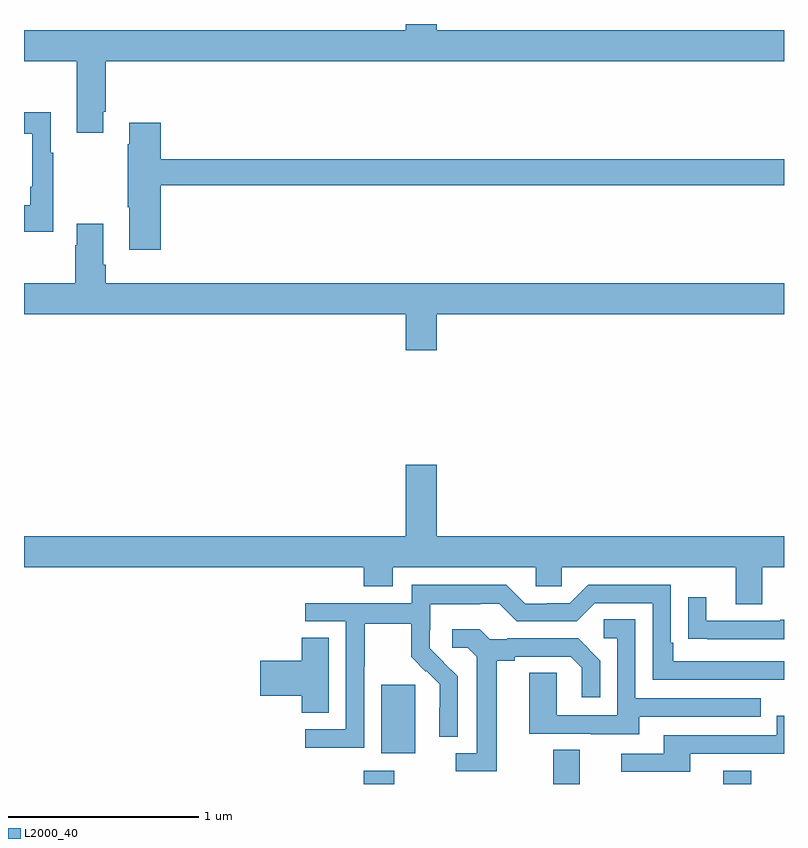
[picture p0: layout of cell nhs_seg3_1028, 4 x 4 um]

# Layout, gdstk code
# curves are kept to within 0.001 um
import gdstk
lib = gdstk.Library(unit=1e-6, precision=1e-09)
def R(c, l, rs):  # rectangles x0, y0, x1, y1
    for r in rs: c.add(gdstk.rectangle(r[:2], r[2:], *l))
def P(c, l, *ps):  # polygons
    for p in ps: c.add(gdstk.Polygon(p, *l))
L2000_40 = (2000, 40)

nhs_seg3_1028 = lib.new_cell('nhs_seg3_1028')
R(nhs_seg3_1028, L2000_40, [(164.789,742.4,164.949,742.471), (165.785,742.4,165.925,742.58), (166.679,742.4,166.827,742.471), (164.879,742.562,165.058,742.923)])
P(nhs_seg3_1028, L2000_40, [(163.417,745.939),(163.43,745.939),(163.43,746.204),(167,746.204),(167,746.368),(165.172,746.368),(165.172,746.4),(165.008,746.4),(165.008,746.368),(163,746.368),(163,746.204),(163.277,746.204),(163.277,745.827),(163.417,745.827)],
  [(163.153,745.723),(163.141,745.723),(163.141,745.936),(163,745.936),(163,745.823),(163.044,745.823),(163.044,745.543),(163.032,745.543),(163.032,745.447),(163,745.447),(163,745.307),(163.153,745.307)],
  [(163.721,745.552),(167,745.552),(167,745.688),(163.721,745.688),(163.721,745.879),(163.553,745.879),(163.553,745.766),(163.546,745.766),(163.546,745.435),(163.553,745.435),(163.553,745.212),(163.721,745.212)],
  [(165.172,744.872),(167,744.872),(167,745.036),(163.43,745.036),(163.43,745.132),(163.417,745.132),(163.417,745.348),(163.277,745.348),(163.277,745.235),(163.27,745.235),(163.27,745.036),(163,745.036),(163,744.872),(165.008,744.872),(165.008,744.684),(165.172,744.684)],
  [(166.885,743.54),(167,743.54),(167,743.704),(165.172,743.704),(165.172,744.079),(165.008,744.079),(165.008,743.704),(163,743.704),(163,743.54),(164.789,743.54),(164.789,743.441),(164.941,743.441),(164.941,743.54),(165.693,743.54),(165.693,743.442),(165.831,743.442),(165.831,743.54),(166.745,743.54),(166.745,743.346),(166.885,743.346)],
  [(164.79,743.02),(164.793,743.02),(164.793,743.244),(165.037,743.244),(165.037,743.069),(165.114,742.992),(165.117,742.995),(165.188,742.925),(165.188,742.802),(165.186,742.802),(165.186,742.648),(165.282,742.648),(165.282,742.966),(165.136,743.114),(165.136,743.211),(165.138,743.211),(165.138,743.345),(165.401,743.345),(165.401,743.349),(165.501,743.349),(165.594,743.256),(165.909,743.256),(166.005,743.352),(166.308,743.352),(166.308,742.95),(167,742.95),(167,743.046),(166.417,743.046),(166.417,743.143),(166.404,743.143),(166.404,743.448),(165.969,743.448),(165.873,743.352),(165.755,743.352),(165.755,743.349),(165.639,743.349),(165.539,743.449),(165.042,743.449),(165.042,743.352),(164.481,743.352),(164.481,743.256),(164.694,743.256),(164.694,742.689),(164.481,742.689),(164.481,742.591),(164.79,742.591)],
  [(167,743.264),(166.981,743.264),(166.981,743.259),(166.591,743.259),(166.591,743.383),(166.495,743.383),(166.495,743.164),(166.597,743.164),(166.597,743.163),(167,743.163)],
  [(166.237,742.755),(166.877,742.755),(166.877,742.851),(166.218,742.851),(166.218,743.267),(166.05,743.267),(166.05,743.166),(166.122,743.166),(166.122,742.761),(165.804,742.761),(165.804,742.985),(165.659,742.985),(165.659,742.665),(165.983,742.665),(165.983,742.661),(166.237,742.661)],
  [(165.487,743.048),(165.583,743.048),(165.583,743.07),(165.878,743.07),(165.935,743.013),(165.935,742.857),(166.032,742.857),(166.032,743.05),(165.916,743.166),(165.544,743.166),(165.544,743.163),(165.45,743.163),(165.398,743.215),(165.255,743.215),(165.255,743.118),(165.336,743.118),(165.383,743.071),(165.383,742.563),(165.273,742.563),(165.273,742.467),(165.487,742.467)],
  [(164.605,743.171),(164.462,743.171),(164.462,743.048),(164.244,743.048),(164.244,742.865),(164.462,742.865),(164.462,742.774),(164.605,742.774)],
  [(166.507,742.56),(167,742.56),(167,742.759),(166.962,742.759),(166.962,742.656),(166.367,742.656),(166.367,742.56),(166.143,742.56),(166.143,742.464),(166.507,742.464)])

lib.write_gds('nhs_seg3_1028.gds')
